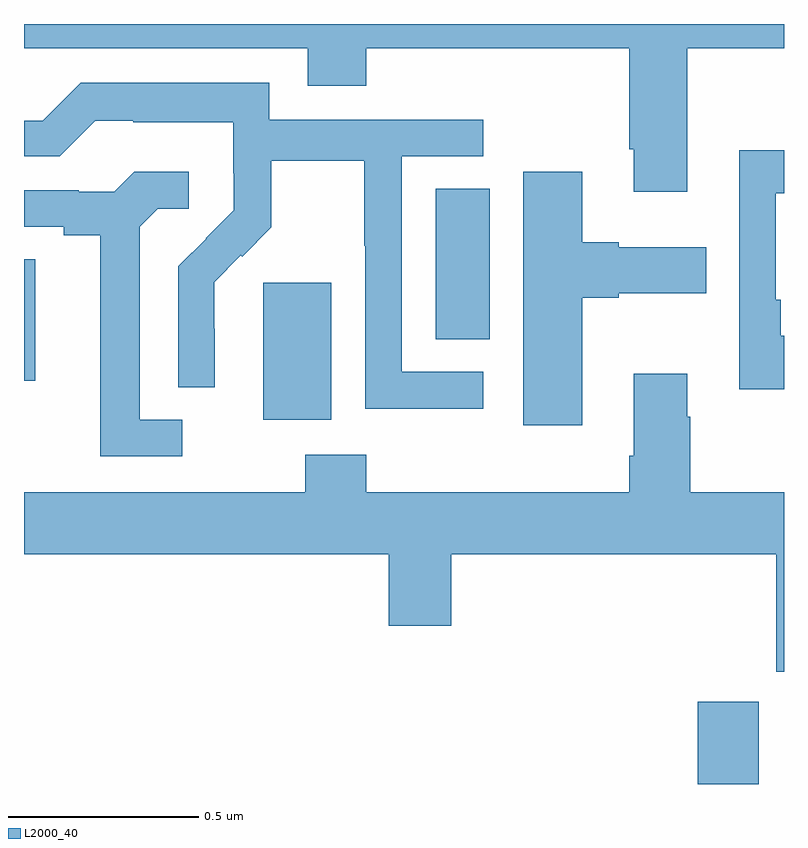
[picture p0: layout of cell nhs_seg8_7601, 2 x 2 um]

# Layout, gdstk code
import gdstk
lib = gdstk.Library(unit=1e-6, precision=1e-09)
def R(c, l, rs):  # rectangles x0, y0, x1, y1
    for r in rs: c.add(gdstk.rectangle(r[:2], r[2:], *l))
def P(c, l, *ps):  # polygons
    for p in ps: c.add(gdstk.Polygon(p, *l))
L2000_40 = (2000, 40)

nhs_seg8_7601 = lib.new_cell('nhs_seg8_7601')
R(nhs_seg8_7601, L2000_40, [(213.773,1111.9,213.933,1112.116), (212.63,1112.858,212.809,1113.219), (212,1112.961,212.029,1113.281), (213.083,1113.07,213.226,1113.467)])
P(nhs_seg8_7601, L2000_40, [(213.745,1113.836),(214,1113.836),(214,1113.9),(212,1113.9),(212,1113.836),(212.747,1113.836),(212.747,1113.737),(212.9,1113.737),(212.9,1113.836),(213.593,1113.836),(213.593,1113.571),(213.605,1113.571),(213.605,1113.459),(213.745,1113.459)],
  [(213.208,1112.985),(212.994,1112.985),(212.994,1113.552),(213.208,1113.552),(213.208,1113.648),(212.646,1113.648),(212.646,1113.745),(212.149,1113.745),(212.049,1113.645),(212,1113.645),(212,1113.552),(212.094,1113.552),(212.187,1113.645),(212.287,1113.645),(212.287,1113.641),(212.55,1113.641),(212.55,1113.507),(212.552,1113.507),(212.552,1113.41),(212.478,1113.336),(212.479,1113.335),(212.406,1113.262),(212.406,1112.944),(212.502,1112.944),(212.502,1113.098),(212.501,1113.098),(212.501,1113.221),(212.571,1113.291),(212.574,1113.288),(212.651,1113.365),(212.651,1113.54),(212.896,1113.54),(212.896,1113.316),(212.898,1113.316),(212.898,1112.887),(213.208,1112.887)],
  [(214,1113.079),(213.991,1113.079),(213.991,1113.175),(213.978,1113.175),(213.978,1113.455),(214,1113.455),(214,1113.568),(213.882,1113.568),(213.882,1112.939),(214,1112.939)],
  [(212.416,1112.859),(212.305,1112.859),(212.305,1113.367),(212.352,1113.414),(212.434,1113.414),(212.434,1113.511),(212.29,1113.511),(212.238,1113.459),(212.144,1113.459),(212.144,1113.462),(212,1113.462),(212,1113.366),(212.105,1113.366),(212.105,1113.344),(212.201,1113.344),(212.201,1112.763),(212.416,1112.763)],
  [(213.469,1113.179),(213.565,1113.179),(213.565,1113.191),(213.796,1113.191),(213.796,1113.313),(213.565,1113.313),(213.565,1113.326),(213.469,1113.326),(213.469,1113.511),(213.314,1113.511),(213.314,1112.844),(213.469,1112.844)],
  [(214,1112.668),(213.753,1112.668),(213.753,1112.867),(213.745,1112.867),(213.745,1112.98),(213.605,1112.98),(213.605,1112.764),(213.593,1112.764),(213.593,1112.668),(212.9,1112.668),(212.9,1112.767),(212.74,1112.767),(212.74,1112.668),(212,1112.668),(212,1112.504),(212.96,1112.504),(212.96,1112.316),(213.124,1112.316),(213.124,1112.504),(213.98,1112.504),(213.98,1112.195),(214,1112.195)])

lib.write_gds('nhs_seg8_7601.gds')
